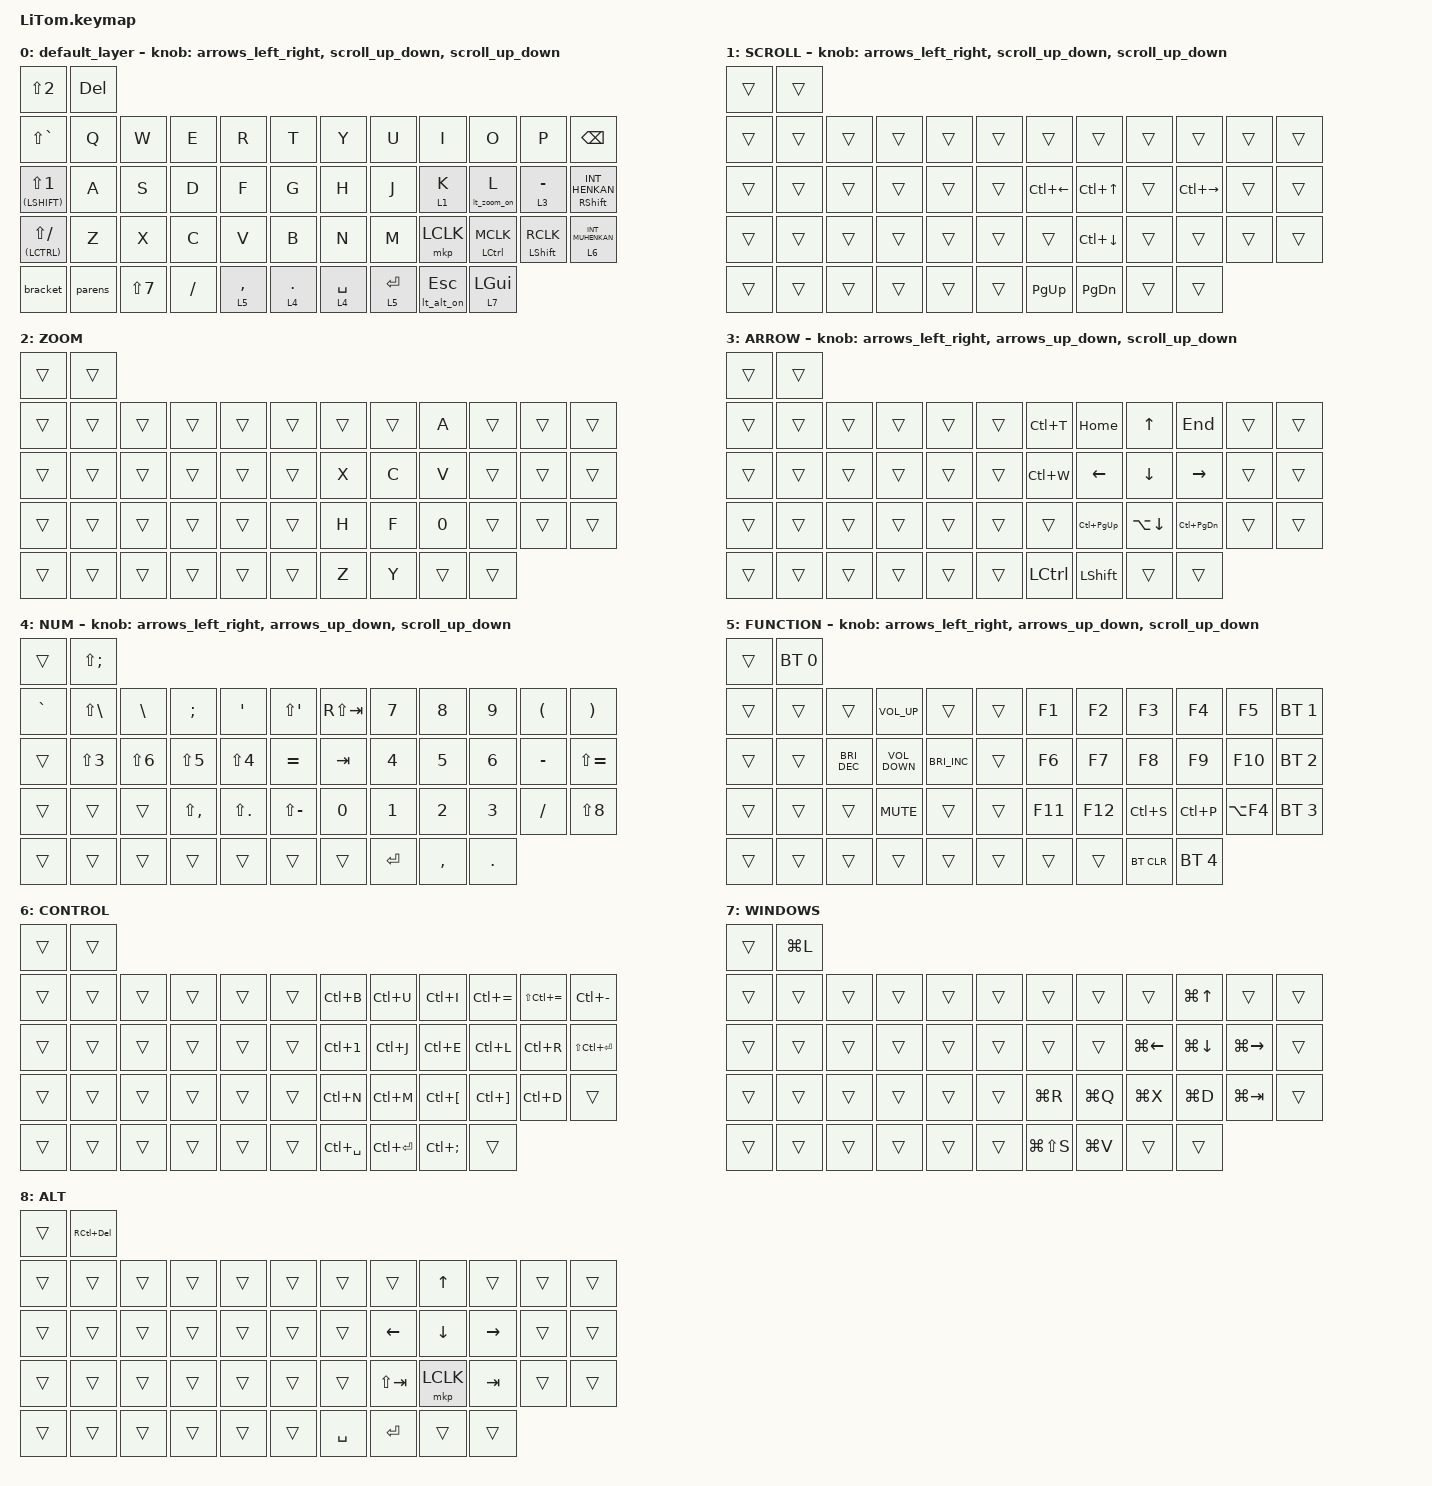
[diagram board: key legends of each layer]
#include <zephyr/dt-bindings/input/input-event-codes.h>
#include <input/processors/runtime-input-processor.dtsi>
#include <behaviors/runtime-sensor-rotate.dtsi>
#include <behaviors.dtsi>
#include <dt-bindings/zmk/bt.h>
#include <dt-bindings/zmk/keys.h>
#include <dt-bindings/zmk/pointing.h>

#undef ZMK_POINTING_DEFAULT_SCRL_VAL

#define ZMK_POINTING_DEFAULT_SCRL_VAL 80

/ {
    behaviors {
        scroll_up_down: behavior_sensor_rotate_mouse_wheel_up_down {
            compatible = "zmk,behavior-runtime-sensor-rotate";
            label = "ENCODER_MSC_DOWN_UP";
            #sensor-binding-cells = <0>;
            cw-binding = <&msc SCRL_DOWN>;
            ccw-binding = <&msc SCRL_UP>;
            tap-ms = <20>;
        };

        tab_slide: behavior_sensor_rotate_tab_slide {
            compatible = "zmk,behavior-runtime-sensor-rotate";
            label = "ENCODER_TAB_SLIDE";
            #sensor-binding-cells = <0>;
            cw-binding = <&kp LA(LG(RIGHT_ARROW))>;
            ccw-binding = <&kp LA(LG(LEFT_ARROW))>;
            tap-ms = <20>;
        };

        arrows_left_right: behavior_sensor_rotate_arrows_left_right {
            compatible = "zmk,behavior-runtime-sensor-rotate";
            label = "ENCODER_ARROWS_LEFT_RIGHT";
            #sensor-binding-cells = <0>;
            cw-binding = <&kp RIGHT_ARROW>;
            ccw-binding = <&kp LEFT_ARROW>;
            tap-ms = <20>;
        };

        arrows_up_down: behavior_sensor_rotate_arrows_up_down {
            compatible = "zmk,behavior-runtime-sensor-rotate";
            label = "ENCODER_ARROWS_UP_DOWN";
            #sensor-binding-cells = <0>;
            cw-binding = <&kp DOWN_ARROW>;
            ccw-binding = <&kp UP_ARROW>;
            tap-ms = <20>;
        };

        mt_mouse: mt_mouse {
            compatible = "zmk,behavior-hold-tap";
            #binding-cells = <2>;
            flavor = "hold-preferred";
            tapping-term-ms = <200>;
            bindings = <&kp>, <&mkp>;
        };

        mt_mouse_middle: mt_mouse_middle {
            compatible = "zmk,behavior-hold-tap";
            #binding-cells = <2>;
            flavor = "hold-preferred";
            tapping-term-ms = <400>;
            bindings = <&kp>, <&mkp>;
        };

        lt_zoom: lt_zoom {
            compatible = "zmk,behavior-hold-tap";
            #binding-cells = <2>;
            flavor = "balanced";
            tapping-term-ms = <200>;
            bindings = <&lt_zoom_on>, <&kp>;
        };

        lt_zoom_middle: lt_zoom_middle {
            compatible = "zmk,behavior-hold-tap";
            #binding-cells = <2>;
            flavor = "balanced";
            tapping-term-ms = <400>;
            bindings = <&lt_zoom_on>, <&kp>;
        };

        lt_ctrl: lt_ctrl {
            compatible = "zmk,behavior-hold-tap";
            #binding-cells = <2>;
            flavor = "balanced";
            tapping-term-ms = <200>;
            bindings = <&lt_ctrl_on>, <&kp>;
        };

        lt_ctrl_middle: lt_ctrl_middle {
            compatible = "zmk,behavior-hold-tap";
            #binding-cells = <2>;
            flavor = "balanced";
            tapping-term-ms = <400>;
            bindings = <&lt_ctrl_on>, <&kp>;
        };

        lt_alt: lt_alt {
            compatible = "zmk,behavior-hold-tap";
            #binding-cells = <2>;
            flavor = "balanced";
            tapping-term-ms = <200>;
            bindings = <&lt_alt_on>, <&kp>;
        };

        lt_alt_middle: lt_alt_middle {
            compatible = "zmk,behavior-hold-tap";
            #binding-cells = <2>;
            flavor = "balanced";
            tapping-term-ms = <400>;
            bindings = <&lt_alt_on>, <&kp>;
        };

        lt_slow: layer_tap_slow {
            compatible = "zmk,behavior-hold-tap";
            label = "LAYER_TAP_SLOW";
            #binding-cells = <2>;
            tapping-term-ms = <600>; // ここで判定時間をミリ秒単位で指定
            flavor = "tap-preferred"; // タップを優先する設定（誤爆防止に推奨）
            bindings = <&mo>, <&kp>;
        };

        lt_middle: layer_tap_middle {
            compatible = "zmk,behavior-hold-tap";
            label = "LAYER_TAP_MIDDLE";
            #binding-cells = <2>;
            tapping-term-ms = <400>; // ここで判定時間をミリ秒単位で指定
            flavor = "tap-preferred"; // タップを優先する設定（誤爆防止に推奨）
            bindings = <&mo>, <&kp>;
        };

        mt_slow: mod_tap_slow {
            compatible = "zmk,behavior-hold-tap";
            label = "MOD_TAP_SLOW";
            #binding-cells = <2>;
            tapping-term-ms = <600>;     // 判定時間（長めに設定）
            flavor = "tap-preferred";    // 迷った時はタップを優先（誤爆防止）
            bindings = <&kp>, <&kp>;

            // Hold側もTap側もキー入力（kp）を使用
        };

        mt_middle: mod_tap_middle {
            compatible = "zmk,behavior-hold-tap";
            label = "MOD_TAP_MIDDLE";
            #binding-cells = <2>;
            tapping-term-ms = <400>;     // 判定時間（長めに設定）
            flavor = "tap-preferred";    // 迷った時はタップを優先（誤爆防止）
            bindings = <&kp>, <&kp>;

            // Hold側もTap側もキー入力（kp）を使用
        };
    };

    macros {
        lt_zoom_on: lt_zoom_on {
            compatible = "zmk,behavior-macro";
            #binding-cells = <0>;
            bindings =
                <&macro_press>,
                <&mo 2>,
                <&macro_press>,
                <&kp LCTRL>,
                <&macro_pause_for_release>,
                <&macro_release>,
                <&mo 2>,
                <&macro_release>,
                <&kp LCTRL>;
        };

        lt_ctrl_on: lt_ctrl_on {
            compatible = "zmk,behavior-macro";
            #binding-cells = <0>;
            bindings =
                <&macro_press>,
                <&mo 6>,
                <&macro_press>,
                <&kp LCTRL>,
                <&macro_pause_for_release>,
                <&macro_release>,
                <&mo 6>,
                <&macro_release>,
                <&kp LCTRL>;
        };

        lt_alt_on: lt_alt_on {
            compatible = "zmk,behavior-macro";
            #binding-cells = <0>;
            bindings =
                <&macro_press>,
                <&mo 8>,
                <&macro_press>,
                <&kp LALT>,
                <&macro_pause_for_release>,
                <&macro_release>,
                <&mo 8>,
                <&macro_release>,
                <&kp LALT>;
        };

        parens: parens {
            compatible = "zmk,behavior-macro";
            #binding-cells = <0>;
            bindings =
                <&macro_tap>,
                <&kp LEFT_PARENTHESIS &kp RIGHT_PARENTHESIS>;
        };

        bracket: bracket {
            compatible = "zmk,behavior-macro";
            #binding-cells = <0>;
            bindings = <&macro_tap>, <&kp LEFT_BRACKET &kp RIGHT_BRACKET>;
        };
    };

    keymap: keymap {
        compatible = "zmk,keymap";

        default_layer {
            bindings = <
&kp LS(NUMBER_2)           &kp DELETE
&kp LS(GRAVE)              &kp Q       &kp W             &kp E      &kp R        &kp T         &kp Y        &kp U        &kp I             &kp O                 &kp P                      &kp BSPC
&mt (LSHIFT) LS(NUMBER_1)  &kp A       &kp S             &kp D      &kp F        &kp G         &kp H        &kp J        &lt_middle 1 K    &lt_zoom_middle 0 L   &lt_middle 3 MINUS         &mt RIGHT_SHIFT INT_HENKAN
&mt (LCTRL) LS(SLASH)      &kp Z       &kp X             &kp C      &kp V        &kp B         &kp N        &kp M        &mkp LCLK         &mt_mouse LCTRL MCLK  &mt_mouse LEFT_SHIFT RCLK  &lt 6 INT_MUHENKAN
&bracket                   &parens     &kp LS(NUMBER_7)  &kp SLASH  &lt 5 COMMA  &lt 4 PERIOD  &lt 4 SPACE  &lt 5 ENTER  &lt_alt 0 ESCAPE  &lt 7 LEFT_GUI
            >;

            sensor-bindings =
                <&arrows_left_right>,
                <&scroll_up_down>,
                <&scroll_up_down>;
        };

        SCROLL {
            bindings = <
&trans  &trans
&trans  &trans  &trans  &trans  &trans  &trans  &trans              &trans              &trans  &trans               &trans  &trans
&trans  &trans  &trans  &trans  &trans  &trans  &kp LC(LEFT_ARROW)  &kp LC(UP_ARROW)    &trans  &kp LC(RIGHT_ARROW)  &trans  &trans
&trans  &trans  &trans  &trans  &trans  &trans  &trans              &kp LC(DOWN_ARROW)  &trans  &trans               &trans  &trans
&trans  &trans  &trans  &trans  &trans  &trans  &kp PAGE_UP         &kp PAGE_DOWN       &trans  &trans
            >;

            sensor-bindings =
                <&arrows_left_right>,
                <&scroll_up_down>,
                <&scroll_up_down>;
        };

        ZOOM {
            bindings = <
&trans  &trans
&trans  &trans  &trans  &trans  &trans  &trans  &trans  &trans  &kp A   &trans  &trans  &trans
&trans  &trans  &trans  &trans  &trans  &trans  &kp X   &kp C   &kp V   &trans  &trans  &trans
&trans  &trans  &trans  &trans  &trans  &trans  &kp H   &kp F   &kp N0  &trans  &trans  &trans
&trans  &trans  &trans  &trans  &trans  &trans  &kp Z   &kp Y   &trans  &trans
            >;
        };

        ARROW {
            bindings = <
&trans  &trans
&trans  &trans  &trans  &trans  &trans  &trans  &kp LC(T)  &kp HOME         &kp UP_ARROW        &kp END            &trans  &trans
&trans  &trans  &trans  &trans  &trans  &trans  &kp LC(W)  &kp LEFT_ARROW   &kp DOWN_ARROW      &kp RIGHT_ARROW    &trans  &trans
&trans  &trans  &trans  &trans  &trans  &trans  &trans     &kp LC(PAGE_UP)  &kp LA(DOWN_ARROW)  &kp LC(PAGE_DOWN)  &trans  &trans
&trans  &trans  &trans  &trans  &trans  &trans  &kp LCTRL  &kp LSHIFT       &trans              &trans
            >;

            sensor-bindings = <
                &arrows_left_right
                &arrows_up_down
                &scroll_up_down
            >;
        };

        NUM {
            bindings = <
&trans     &kp LS(SEMICOLON)
&kp GRAVE  &kp LS(BACKSLASH)  &kp BACKSLASH     &kp SEMICOLON  &kp SINGLE_QUOTE  &kp LS(SINGLE_QUOTE)  &kp RS(TAB)  &kp N7     &kp N8     &kp N9      &kp LEFT_PARENTHESIS  &kp RIGHT_PARENTHESIS
&trans     &kp LS(NUMBER_3)   &kp LS(NUMBER_6)  &kp LS(N5)     &kp LS(NUMBER_4)  &kp EQUAL             &kp TAB      &kp N4     &kp N5     &kp N6      &kp MINUS             &kp LS(EQUAL)
&trans     &trans             &trans            &kp LS(COMMA)  &kp LS(PERIOD)    &kp LS(MINUS)         &kp N0       &kp N1     &kp N2     &kp N3      &kp FSLH              &kp LS(N8)
&trans     &trans             &trans            &trans         &trans            &trans                &trans       &kp ENTER  &kp COMMA  &kp PERIOD
            >;

            sensor-bindings = <
                &arrows_left_right
                &arrows_up_down
                &scroll_up_down
            >;
        };

        FUNCTION {
            bindings = <
&trans  &bt BT_SEL 0
&trans  &trans        &trans         &kp C_VOLUME_UP    &trans         &trans  &kp F1   &kp F2   &kp F3      &kp F4        &kp F5      &bt BT_SEL 1
&trans  &trans        &kp C_BRI_DEC  &kp C_VOLUME_DOWN  &kp C_BRI_INC  &trans  &kp F6   &kp F7   &kp F8      &kp F9        &kp F10     &bt BT_SEL 2
&trans  &trans        &trans         &kp K_MUTE         &trans         &trans  &kp F11  &kp F12  &kp LC(S)   &kp LC(P)     &kp LA(F4)  &bt BT_SEL 3
&trans  &trans        &trans         &trans             &trans         &trans  &trans   &trans   &bt BT_CLR  &bt BT_SEL 4
            >;

            sensor-bindings = <
                &arrows_left_right
                &arrows_up_down
                &scroll_up_down
            >;
        };

        CONTROL {
            bindings = <
&trans  &trans
&trans  &trans  &trans  &trans  &trans  &trans  &kp LC(B)         &kp LC(U)      &kp LC(I)             &kp LC(EQUAL)          &kp LS(LC(EQUAL))  &kp LC(MINUS)
&trans  &trans  &trans  &trans  &trans  &trans  &kp LC(NUMBER_1)  &kp LC(J)      &kp LC(E)             &kp LC(L)              &kp LC(R)          &kp LS(LC(ENTER))
&trans  &trans  &trans  &trans  &trans  &trans  &kp LC(N)         &kp LC(M)      &kp LC(LEFT_BRACKET)  &kp LC(RIGHT_BRACKET)  &kp LC(D)          &trans
&trans  &trans  &trans  &trans  &trans  &trans  &kp LC(SPACE)     &kp LC(ENTER)  &kp LC(SEMICOLON)     &trans
            >;
        };

        WINDOWS {
            bindings = <
&trans  &kp LG(L)
&trans  &trans     &trans  &trans  &trans  &trans  &trans         &trans     &trans              &kp LG(UP_ARROW)    &trans               &trans
&trans  &trans     &trans  &trans  &trans  &trans  &trans         &trans     &kp LG(LEFT_ARROW)  &kp LG(DOWN_ARROW)  &kp LG(RIGHT_ARROW)  &trans
&trans  &trans     &trans  &trans  &trans  &trans  &kp LG(R)      &kp LG(Q)  &kp LG(X)           &kp LG(D)           &kp LG(TAB)          &trans
&trans  &trans     &trans  &trans  &trans  &trans  &kp LG(LS(S))  &kp LG(V)  &trans              &trans
            >;
        };

        ALT {
            bindings = <
&trans  &kp RC(DELETE)
&trans  &trans          &trans  &trans  &trans  &trans  &trans     &trans          &kp UP_ARROW    &trans           &trans  &trans
&trans  &trans          &trans  &trans  &trans  &trans  &trans     &kp LEFT_ARROW  &kp DOWN_ARROW  &kp RIGHT_ARROW  &trans  &trans
&trans  &trans          &trans  &trans  &trans  &trans  &trans     &kp LS(TAB)     &mkp LCLK       &kp TAB          &trans  &trans
&trans  &trans          &trans  &trans  &trans  &trans  &kp SPACE  &kp ENTER       &trans          &trans
            >;
        };
    };
};
